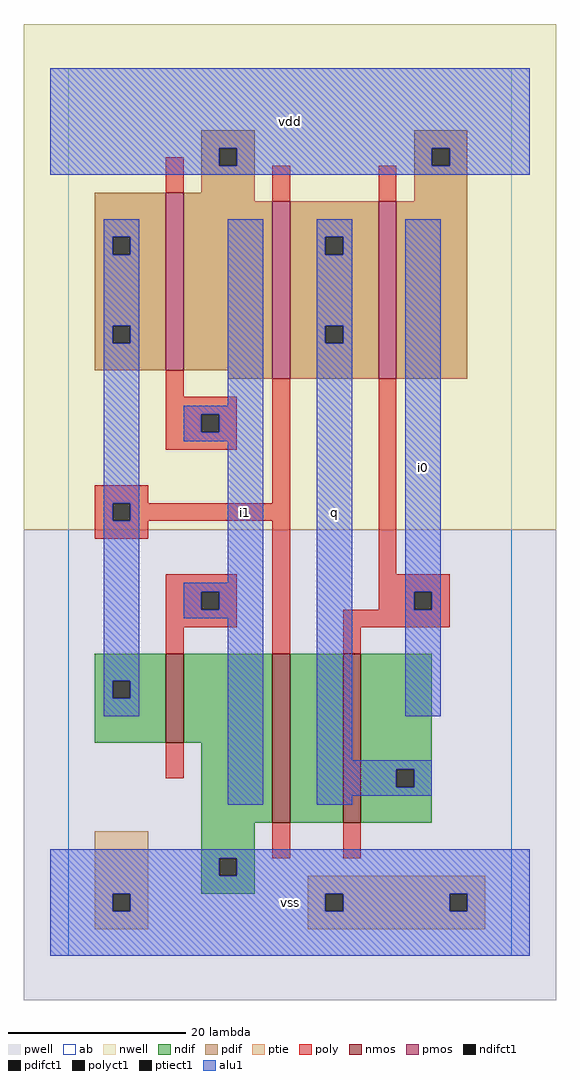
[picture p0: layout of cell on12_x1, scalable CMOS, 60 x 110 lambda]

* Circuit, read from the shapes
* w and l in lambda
.subckt on12_x1 i0 i1 q vdd vss
M1 vss i1 n1 vss nfet w=10 l=2
M2 n2 n1 vss vss nfet w=19 l=2
M3 q i0 n2 vss nfet w=19 l=2
M4 vdd i1 n1 n3 pfet w=20 l=2
M5 q n1 vdd n3 pfet w=20 l=2
M6 vdd i0 q n3 pfet w=20 l=2
.ends

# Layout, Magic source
magic
tech scmos
<< ab >>
rect 0 0 50 100
<< nwell >>
rect -5 48 55 105
<< pwell >>
rect -5 -5 55 48
<< poly >>
rect 11 86 13 90
rect 23 85 25 89
rect 35 85 37 89
rect 11 63 13 66
rect 11 61 19 63
rect 11 59 15 61
rect 17 59 19 61
rect 11 57 19 59
rect 3 51 9 53
rect 23 51 25 65
rect 3 49 5 51
rect 7 49 25 51
rect 3 47 9 49
rect 11 41 19 43
rect 11 39 15 41
rect 17 39 19 41
rect 11 37 19 39
rect 11 34 13 37
rect 23 34 25 49
rect 35 43 37 65
rect 35 41 43 43
rect 35 39 39 41
rect 41 39 43 41
rect 31 37 43 39
rect 31 34 33 37
rect 11 20 13 24
rect 23 11 25 15
rect 31 11 33 15
<< ndif >>
rect 3 31 11 34
rect 3 29 5 31
rect 7 29 11 31
rect 3 24 11 29
rect 13 24 23 34
rect 15 15 23 24
rect 25 15 31 34
rect 33 21 41 34
rect 33 19 37 21
rect 39 19 41 21
rect 33 15 41 19
rect 15 11 21 15
rect 15 9 17 11
rect 19 9 21 11
rect 15 7 21 9
<< pdif >>
rect 15 91 21 93
rect 15 89 17 91
rect 19 89 21 91
rect 39 91 45 93
rect 39 89 41 91
rect 43 89 45 91
rect 15 86 21 89
rect 3 81 11 86
rect 3 79 5 81
rect 7 79 11 81
rect 3 71 11 79
rect 3 69 5 71
rect 7 69 11 71
rect 3 66 11 69
rect 13 85 21 86
rect 39 85 45 89
rect 13 66 23 85
rect 18 65 23 66
rect 25 81 35 85
rect 25 79 29 81
rect 31 79 35 81
rect 25 71 35 79
rect 25 69 29 71
rect 31 69 35 71
rect 25 65 35 69
rect 37 65 45 85
<< alu1 >>
rect -2 91 52 100
rect -2 89 17 91
rect 19 89 41 91
rect 43 89 52 91
rect -2 88 52 89
rect 4 81 8 83
rect 4 79 5 81
rect 7 79 8 81
rect 4 71 8 79
rect 4 69 5 71
rect 7 69 8 71
rect 4 51 8 69
rect 18 62 22 83
rect 13 61 22 62
rect 13 59 15 61
rect 17 59 22 61
rect 13 58 22 59
rect 4 49 5 51
rect 7 49 8 51
rect 4 31 8 49
rect 18 42 22 58
rect 13 41 22 42
rect 13 39 15 41
rect 17 39 22 41
rect 13 38 22 39
rect 4 29 5 31
rect 7 29 8 31
rect 4 27 8 29
rect 18 17 22 38
rect 28 81 32 83
rect 28 79 29 81
rect 31 79 32 81
rect 28 71 32 79
rect 28 69 29 71
rect 31 69 32 71
rect 28 22 32 69
rect 38 41 42 83
rect 38 39 39 41
rect 41 39 42 41
rect 38 27 42 39
rect 28 21 41 22
rect 28 19 37 21
rect 39 19 41 21
rect 28 18 41 19
rect 28 17 32 18
rect -2 11 52 12
rect -2 9 17 11
rect 19 9 52 11
rect -2 7 52 9
rect -2 5 5 7
rect 7 5 29 7
rect 31 5 43 7
rect 45 5 52 7
rect -2 0 52 5
<< ptie >>
rect 3 7 9 14
rect 27 7 47 9
rect 3 5 5 7
rect 7 5 9 7
rect 3 3 9 5
rect 27 5 29 7
rect 31 5 43 7
rect 45 5 47 7
rect 27 3 47 5
<< nmos >>
rect 11 24 13 34
rect 23 15 25 34
rect 31 15 33 34
<< pmos >>
rect 11 66 13 86
rect 23 65 25 85
rect 35 65 37 85
<< polyct1 >>
rect 15 59 17 61
rect 5 49 7 51
rect 15 39 17 41
rect 39 39 41 41
<< ndifct1 >>
rect 5 29 7 31
rect 37 19 39 21
rect 17 9 19 11
<< ptiect1 >>
rect 5 5 7 7
rect 29 5 31 7
rect 43 5 45 7
<< pdifct1 >>
rect 17 89 19 91
rect 41 89 43 91
rect 5 79 7 81
rect 5 69 7 71
rect 29 79 31 81
rect 29 69 31 71
<< labels >>
rlabel alu1 25 6 25 6 6 vss
rlabel alu1 30 50 30 50 6 q
rlabel alu1 20 50 20 50 6 i1
rlabel alu1 25 94 25 94 6 vdd
rlabel alu1 40 55 40 55 6 i0
<< end >>
